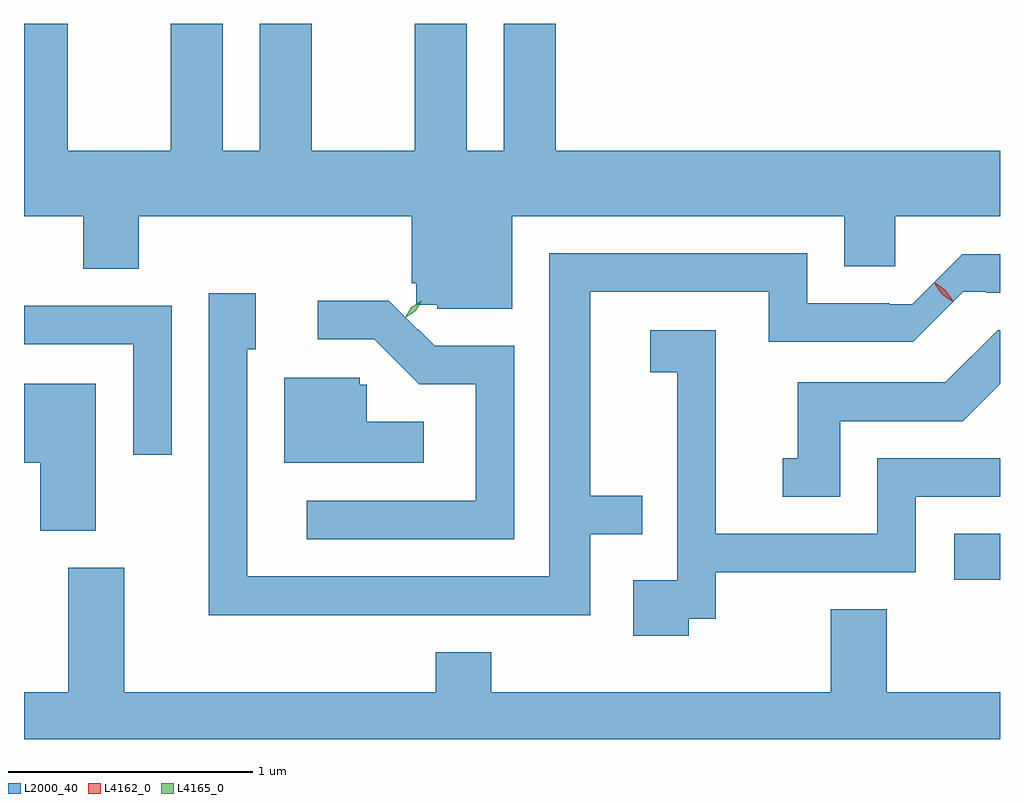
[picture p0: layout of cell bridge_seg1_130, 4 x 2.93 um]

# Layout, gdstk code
import gdstk
lib = gdstk.Library(unit=1e-6, precision=1e-09)
def R(c, l, rs):  # rectangles x0, y0, x1, y1
    for r in rs: c.add(gdstk.rectangle(r[:2], r[2:], *l))
def P(c, l, *ps):  # polygons
    for p in ps: c.add(gdstk.Polygon(p, *l))
L2000_40 = (2000, 40)
L4162_0 = (4162, 0)
L4165_0 = (4165, 0)

bridge_seg1_130 = lib.new_cell('bridge_seg1_130')
R(bridge_seg1_130, L2000_40, [(1450.401,840.366,1450.589,840.554)])
P(bridge_seg1_130, L2000_40, [(1448.589,841.856),(1449.951,841.856),(1449.951,841.651),(1450.159,841.651),(1450.159,841.856),(1450.589,841.856),(1450.589,842.124),(1448.769,842.124),(1448.769,842.644),(1448.556,842.644),(1448.556,842.124),(1448.404,842.124),(1448.404,842.644),(1448.191,842.644),(1448.191,842.124),(1447.769,842.124),(1447.769,842.644),(1447.556,842.644),(1447.556,842.124),(1447.404,842.124),(1447.404,842.644),(1447.191,842.644),(1447.191,842.124),(1446.769,842.124),(1446.769,842.644),(1446.589,842.644),(1446.589,841.856),(1446.831,841.856),(1446.831,841.641),(1447.059,841.641),(1447.059,841.856),(1448.179,841.856),(1448.179,841.58),(1448.196,841.58),(1448.196,841.493),(1448.283,841.493),(1448.283,841.476),(1448.589,841.476)],
  [(1448.909,840.551),(1449.123,840.551),(1449.123,840.709),(1448.909,840.709),(1448.909,841.546),(1449.641,841.546),(1449.641,841.341),(1450.234,841.341),(1450.438,841.545),(1450.532,841.545),(1450.532,841.541),(1450.589,841.541),(1450.589,841.699),(1450.434,841.699),(1450.23,841.495),(1450.135,841.495),(1450.135,841.499),(1449.799,841.499),(1449.799,841.704),(1448.741,841.704),(1448.741,840.379),(1447.504,840.379),(1447.504,841.311),(1447.539,841.311),(1447.539,841.539),(1447.346,841.539),(1447.346,840.221),(1448.909,840.221)],
  [(1448.599,841.324),(1448.273,841.324),(1448.204,841.393),(1448.202,841.39),(1448.083,841.509),(1447.793,841.509),(1447.793,841.351),(1448.024,841.351),(1448.209,841.166),(1448.441,841.166),(1448.441,840.689),(1447.748,840.689),(1447.748,840.531),(1448.599,840.531)],
  [(1447.194,841.489),(1446.589,841.489),(1446.589,841.331),(1447.036,841.331),(1447.036,840.878),(1447.194,840.878)],
  [(1449.314,840.206),(1449.424,840.206),(1449.424,840.396),(1450.244,840.396),(1450.244,840.706),(1450.589,840.706),(1450.589,840.864),(1450.086,840.864),(1450.086,840.554),(1449.424,840.554),(1449.424,841.389),(1449.156,841.389),(1449.156,841.216),(1449.266,841.216),(1449.266,840.364),(1449.086,840.364),(1449.086,840.136),(1449.314,840.136)],
  [(1449.934,841.016),(1450.437,841.016),(1450.589,841.168),(1450.589,841.389),(1450.579,841.389),(1450.364,841.174),(1449.761,841.174),(1449.761,840.864),(1449.698,840.864),(1449.698,840.706),(1449.934,840.706)],
  [(1448.228,841.014),(1447.994,841.014),(1447.994,841.164),(1447.964,841.164),(1447.964,841.194),(1447.656,841.194),(1447.656,840.846),(1448.228,840.846)],
  [(1446.884,841.169),(1446.589,841.169),(1446.589,840.846),(1446.656,840.846),(1446.656,840.566),(1446.884,840.566)],
  [(1450.589,839.904),(1450.124,839.904),(1450.124,840.244),(1449.896,840.244),(1449.896,839.904),(1448.504,839.904),(1448.504,840.069),(1448.276,840.069),(1448.276,839.904),(1446.999,839.904),(1446.999,840.414),(1446.771,840.414),(1446.771,839.904),(1446.589,839.904),(1446.589,839.712),(1450.589,839.712)])
P(bridge_seg1_130, L4162_0, [(1450.392,841.507),(1450.35,841.536),(1450.322,841.578),(1450.322,841.579),(1450.323,841.579),(1450.365,841.55),(1450.392,841.508),(1450.392,841.507)],
  [(1450.396,841.505),(1450.352,841.538),(1450.321,841.584),(1450.321,841.585),(1450.322,841.585),(1450.366,841.552),(1450.397,841.506),(1450.397,841.505)])
P(bridge_seg1_130, L4165_0, [(1448.154,841.442),(1448.154,841.442),(1448.179,841.482),(1448.218,841.508),(1448.219,841.508),(1448.219,841.508),(1448.194,841.468),(1448.155,841.442)],
  [(1448.154,841.445),(1448.154,841.446),(1448.177,841.482),(1448.214,841.506),(1448.215,841.506),(1448.215,841.505),(1448.192,841.468),(1448.155,841.445)])

lib.write_gds('bridge_seg1_130.gds')
